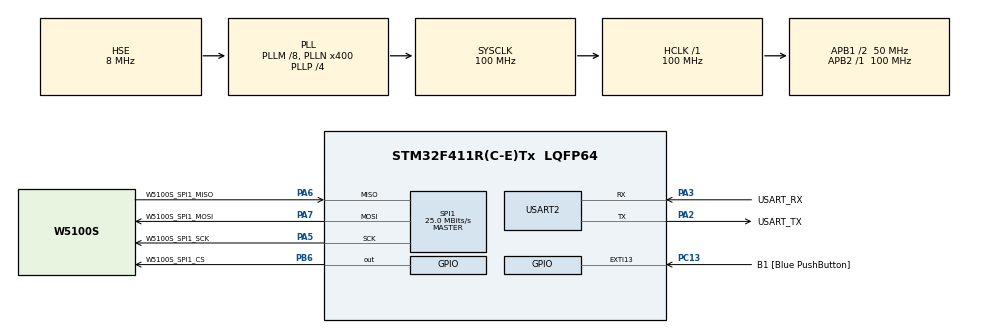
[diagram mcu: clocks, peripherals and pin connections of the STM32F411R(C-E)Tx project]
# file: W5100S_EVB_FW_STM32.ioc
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Mcu.Family=STM32F4
Mcu.Name=STM32F411R(C-E)Tx
Mcu.Package=LQFP64
NVIC.PriorityGroup=NVIC_PRIORITYGROUP_0
NVIC.TIM1_UP_TIM10_IRQn=true\:0\:0\:true\:false\:true\:true\:true
PA13.GPIO_Label=TMS
PA13.Mode=Serial_Wire
PA13.Signal=SYS_JTMS-SWDIO
PA14.GPIO_Label=TCK
PA14.Mode=Serial_Wire
PA14.Signal=SYS_JTCK-SWCLK
PA2.GPIO_Label=USART_TX
PA2.Mode=Asynchronous
PA2.Signal=USART2_TX
PA3.GPIO_Label=USART_RX
PA3.Mode=Asynchronous
PA3.Signal=USART2_RX
PA5.GPIO_Label=W5100S_SPI1_SCK
PA5.GPIO_Speed=GPIO_SPEED_FREQ_VERY_HIGH
PA5.Mode=Full_Duplex_Master
PA5.Signal=SPI1_SCK
PA6.GPIO_Label=W5100S_SPI1_MISO
PA6.Mode=Full_Duplex_Master
PA6.Signal=SPI1_MISO
PA7.GPIO_Label=W5100S_SPI1_MOSI
PA7.Mode=Full_Duplex_Master
PA7.Signal=SPI1_MOSI
PB3.GPIO_Label=SWO
PB3.Signal=SYS_JTDO-SWO
PB6.GPIO_Label=W5100S_SPI1_CS
PB6.GPIO_ModeDefaultOutputPP=GPIO_MODE_OUTPUT_PP
PB6.GPIO_PuPd=GPIO_PULLUP
PB6.GPIO_Speed=GPIO_SPEED_FREQ_HIGH
PB6.PinState=GPIO_PIN_SET
PB6.Signal=GPIO_Output
PC13-ANTI_TAMP.GPIO_Label=B1 [Blue PushButton]
PC13-ANTI_TAMP.GPIO_ModeDefaultEXTI=GPIO_MODE_IT_FALLING
PC13-ANTI_TAMP.Signal=GPXTI13
PC14-OSC32_IN.Mode=LSE-External-Oscillator
PC14-OSC32_IN.Signal=RCC_OSC32_IN
PC15-OSC32_OUT.Mode=LSE-External-Oscillator
PC15-OSC32_OUT.Signal=RCC_OSC32_OUT
PH0\ -\ OSC_IN.Mode=HSE-External-Clock-Source
PH0\ -\ OSC_IN.Signal=RCC_OSC_IN
PH1\ -\ OSC_OUT.Mode=HSE-External-Clock-Source
PH1\ -\ OSC_OUT.Signal=RCC_OSC_OUT
ProjectManager.HeapSize=0x200
ProjectManager.StackSize=0x400
ProjectManager.TargetToolchain=MDK-ARM V5.27
RCC.48MHZClocksFreq_Value=100000000
RCC.AHBFreq_Value=100000000
RCC.APB1CLKDivider=RCC_HCLK_DIV2
RCC.APB1Freq_Value=50000000
RCC.APB1TimFreq_Value=100000000
RCC.APB2Freq_Value=100000000
RCC.APB2TimFreq_Value=100000000
RCC.CortexFreq_Value=100000000
RCC.FLatency-AdvancedSettings=FLASH_LATENCY_3
RCC.HCLKFreq_Value=100000000
RCC.HSE_VALUE=8000000
RCC.HSI_VALUE=16000000
RCC.PLLM=8
RCC.PLLN=400
RCC.PLLP=RCC_PLLP_DIV4
RCC.PLLSourceVirtual=RCC_PLLSOURCE_HSE
RCC.SYSCLKFreq_VALUE=100000000
RCC.SYSCLKSource=RCC_SYSCLKSOURCE_PLLCLK
RCC.VCOOutputFreq_Value=400000000
SPI1.BaudRatePrescaler=SPI_BAUDRATEPRESCALER_4
SPI1.CalculateBaudRate=25.0 MBits/s
SPI1.Direction=SPI_DIRECTION_2LINES
SPI1.Mode=SPI_MODE_MASTER
SPI1.VirtualType=VM_MASTER
TIM1.AutoReloadPreload=TIM_AUTORELOAD_PRELOAD_ENABLE
TIM1.ClockDivision=TIM_CLOCKDIVISION_DIV1
TIM1.Period=999
TIM1.Prescaler=100
USART2.VirtualMode=VM_ASYNC
VP_TIM1_VS_ClockSourceINT.Mode=Internal
board=NUCLEO-F411RE

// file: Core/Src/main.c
/* USER CODE BEGIN Header */
/**
  ******************************************************************************
  * @file           : main.c
  * @brief          : Main program body
  ******************************************************************************
  * @attention
  *
  * <h2><center>&copy; Copyright (c) 2022 STMicroelectronics.
  * All rights reserved.</center></h2>
  *
  * This software component is licensed by ST under BSD 3-Clause license,
  * the "License"; You may not use this file except in compliance with the
  * License. You may obtain a copy of the License at:
  *                        opensource.org/licenses/BSD-3-Clause
  *
  ******************************************************************************
  */
/* USER CODE END Header */
#include "main.h"

/* USER CODE BEGIN Includes */
#include <stdio.h>
#include <stdarg.h>
#include "w5x00_spi.h"
#include "dhcp.h"
#include "dns.h"
#include "timer.h"
#include "wizchip_conf.h"
/* USER CODE END Includes */

/* USER CODE BEGIN PD */

/* Buffer */
#define ETHERNET_BUF_MAX_SIZE (1024 * 2)

/* Socket */
#define SOCKET_DHCP 0
#define SOCKET_DNS 1

/* Retry count */
#define DHCP_RETRY_COUNT 5
#define DNS_RETRY_COUNT 5

/* USER CODE END PD */

SPI_HandleTypeDef hspi1;

TIM_HandleTypeDef htim1;

UART_HandleTypeDef huart2;

/* USER CODE BEGIN PV */

/* Network */
static wiz_NetInfo g_net_info =
    {
        .mac = {0x00, 0x08, 0xDC, 0x5F, 0x84, 0xE6}, // MAC address
        .ip = {192, 168, 11, 2},                     // IP address
        .sn = {255, 255, 255, 0},                    // Subnet Mask
        .gw = {192, 168, 11, 1},                     // Gateway
        .dns = {8, 8, 8, 8},                         // DNS server
        .dhcp = NETINFO_DHCP                         // DHCP enable/disable
};
static uint8_t g_ethernet_buf[ETHERNET_BUF_MAX_SIZE] = {
    0,
}; // common buffer

/* DHCP */
static uint8_t g_dhcp_get_ip_flag = 0;

/* DNS */
static uint8_t g_dns_target_domain[] = "www.wiznet.io";
static uint8_t g_dns_target_ip[4] = {
    0,
};
static uint8_t g_dns_get_ip_flag = 0;

/* Timer */
static volatile uint16_t g_msec_cnt = 0;

/* USER CODE END PV */

void SystemClock_Config(void);
static void MX_GPIO_Init(void);
static void MX_SPI1_Init(void);
static void MX_USART2_UART_Init(void);
static void MX_TIM1_Init(void);
/* USER CODE BEGIN PFP */

/* DHCP */
static void wizchip_dhcp_init(void);
static void wizchip_dhcp_assign(void);
static void wizchip_dhcp_conflict(void);

/* Timer */
static void repeating_timer_callback(void);

/* USER CODE END PFP */

int main(void)
{
  /* USER CODE BEGIN 1 */
	uint8_t retval = 0;
	uint8_t dhcp_retry = 0;
	uint8_t dns_retry = 0;
  /* USER CODE END 1 */

  /* MCU Configuration--------------------------------------------------------*/

  /* Reset of all peripherals, Initializes the Flash interface and the Systick. */
  HAL_Init();

  /* Configure the system clock */
  SystemClock_Config();

  /* Initialize all configured peripherals */
  MX_GPIO_Init();
  MX_SPI1_Init();
  MX_USART2_UART_Init();
  MX_TIM1_Init();
  /* USER CODE BEGIN 2 */
  printf("Hello World\r\n");

  wizchip_1ms_timer_initialize(repeating_timer_callback);

	wizchip_spi_initialize();
	wizchip_cris_initialize();
	wizchip_reset();
	wizchip_initialize();
	wizchip_check();

	if (g_net_info.dhcp == NETINFO_DHCP) // DHCP
	{
			wizchip_dhcp_init();
	}
	else // static
	{
			network_initialize(g_net_info);

			/* Get network information */
			print_network_information(g_net_info);
	}

	DNS_init(SOCKET_DNS, g_ethernet_buf);
	g_dns_get_ip_flag = 0;
  /* USER CODE END 2 */

  /* Infinite loop */
  while (1)
  {

    /* USER CODE BEGIN 3 */

		/* Assigned IP through DHCP */
		if (g_net_info.dhcp == NETINFO_DHCP)
		{
				retval = DHCP_run();

				if (retval == DHCP_IP_LEASED)
				{
						if (g_dhcp_get_ip_flag == 0)
						{
								printf(" DHCP success\n");

								g_dhcp_get_ip_flag = 1;
						}
				}
				else if (retval == DHCP_FAILED)
				{
						g_dhcp_get_ip_flag = 0;
						dhcp_retry++;

						if (dhcp_retry <= DHCP_RETRY_COUNT)
						{
								printf(" DHCP timeout occurred and retry %d\n", dhcp_retry);
						}
				}

				if (dhcp_retry > DHCP_RETRY_COUNT)
				{
						printf(" DHCP failed\n");

						DHCP_stop();

						while (1)
								;
				}

				wizchip_delay_ms(1000); // wait for 1 second
				printf("g_dns_get_ip_flag = %d, retval = %d\r\n", g_dns_get_ip_flag, retval);
		}

		/* Get IP through DNS */
		if ((g_dns_get_ip_flag == 0) && (retval == DHCP_IP_LEASED))
		{
				while (1)
				{
						if (DNS_run(g_net_info.dns, g_dns_target_domain, g_dns_target_ip) > 0)
						{
								printf(" DNS success\n");
								printf(" Target domain : %s\n", g_dns_target_domain);
								printf(" IP of target domain : %d.%d.%d.%d\n", g_dns_target_ip[0], g_dns_target_ip[1], g_dns_target_ip[2], g_dns_target_ip[3]);

								g_dns_get_ip_flag = 1;

								break;
						}
						else
						{
								dns_retry++;

								if (dns_retry <= DNS_RETRY_COUNT)
								{
										printf(" DNS timeout occurred and retry %d\n", dns_retry);
								}
						}

						if (dns_retry > DNS_RETRY_COUNT)
						{
								printf(" DNS failed\n");

								while (1)
										;
						}

						wizchip_delay_ms(1000); // wait for 1 second
				}
		}
  }
  /* USER CODE END 3 */
}

void SystemClock_Config(void)
{
  RCC_OscInitTypeDef RCC_OscInitStruct = {0};
  RCC_ClkInitTypeDef RCC_ClkInitStruct = {0};

  /** Configure the main internal regulator output voltage
  */
  __HAL_RCC_PWR_CLK_ENABLE();
  __HAL_PWR_VOLTAGESCALING_CONFIG(PWR_REGULATOR_VOLTAGE_SCALE1);
  /** Initializes the RCC Oscillators according to the specified parameters
  * in the RCC_OscInitTypeDef structure.
  */
  RCC_OscInitStruct.OscillatorType = RCC_OSCILLATORTYPE_HSE;
  RCC_OscInitStruct.HSEState = RCC_HSE_BYPASS;
  RCC_OscInitStruct.PLL.PLLState = RCC_PLL_ON;
  RCC_OscInitStruct.PLL.PLLSource = RCC_PLLSOURCE_HSE;
  RCC_OscInitStruct.PLL.PLLM = 8;
  RCC_OscInitStruct.PLL.PLLN = 400;
  RCC_OscInitStruct.PLL.PLLP = RCC_PLLP_DIV4;
  RCC_OscInitStruct.PLL.PLLQ = 4;
  if (HAL_RCC_OscConfig(&RCC_OscInitStruct) != HAL_OK)
  {
    Error_Handler();
  }
  /** Initializes the CPU, AHB and APB buses clocks
  */
  RCC_ClkInitStruct.ClockType = RCC_CLOCKTYPE_HCLK|RCC_CLOCKTYPE_SYSCLK
                              |RCC_CLOCKTYPE_PCLK1|RCC_CLOCKTYPE_PCLK2;
  RCC_ClkInitStruct.SYSCLKSource = RCC_SYSCLKSOURCE_PLLCLK;
  RCC_ClkInitStruct.AHBCLKDivider = RCC_SYSCLK_DIV1;
  RCC_ClkInitStruct.APB1CLKDivider = RCC_HCLK_DIV2;
  RCC_ClkInitStruct.APB2CLKDivider = RCC_HCLK_DIV1;

  if (HAL_RCC_ClockConfig(&RCC_ClkInitStruct, FLASH_LATENCY_3) != HAL_OK)
  {
    Error_Handler();
  }
}

static void MX_SPI1_Init(void)
{

  /* SPI1 parameter configuration*/
  hspi1.Instance = SPI1;
  hspi1.Init.Mode = SPI_MODE_MASTER;
  hspi1.Init.Direction = SPI_DIRECTION_2LINES;
  hspi1.Init.DataSize = SPI_DATASIZE_8BIT;
  hspi1.Init.CLKPolarity = SPI_POLARITY_LOW;
  hspi1.Init.CLKPhase = SPI_PHASE_1EDGE;
  hspi1.Init.NSS = SPI_NSS_SOFT;
  hspi1.Init.BaudRatePrescaler = SPI_BAUDRATEPRESCALER_4;
  hspi1.Init.FirstBit = SPI_FIRSTBIT_MSB;
  hspi1.Init.TIMode = SPI_TIMODE_DISABLE;
  hspi1.Init.CRCCalculation = SPI_CRCCALCULATION_DISABLE;
  hspi1.Init.CRCPolynomial = 10;
  if (HAL_SPI_Init(&hspi1) != HAL_OK)
  {
    Error_Handler();
  }

}

static void MX_TIM1_Init(void)
{

  TIM_ClockConfigTypeDef sClockSourceConfig = {0};
  TIM_MasterConfigTypeDef sMasterConfig = {0};

  htim1.Instance = TIM1;
  htim1.Init.Prescaler = 100;
  htim1.Init.CounterMode = TIM_COUNTERMODE_UP;
  htim1.Init.Period = 999;
  htim1.Init.ClockDivision = TIM_CLOCKDIVISION_DIV1;
  htim1.Init.RepetitionCounter = 0;
  htim1.Init.AutoReloadPreload = TIM_AUTORELOAD_PRELOAD_ENABLE;
  if (HAL_TIM_Base_Init(&htim1) != HAL_OK)
  {
    Error_Handler();
  }
  sClockSourceConfig.ClockSource = TIM_CLOCKSOURCE_INTERNAL;
  if (HAL_TIM_ConfigClockSource(&htim1, &sClockSourceConfig) != HAL_OK)
  {
    Error_Handler();
  }
  sMasterConfig.MasterOutputTrigger = TIM_TRGO_RESET;
  sMasterConfig.MasterSlaveMode = TIM_MASTERSLAVEMODE_DISABLE;
  if (HAL_TIMEx_MasterConfigSynchronization(&htim1, &sMasterConfig) != HAL_OK)
  {
    Error_Handler();
  }

}

static void MX_USART2_UART_Init(void)
{

  huart2.Instance = USART2;
  huart2.Init.BaudRate = 115200;
  huart2.Init.WordLength = UART_WORDLENGTH_8B;
  huart2.Init.StopBits = UART_STOPBITS_1;
  huart2.Init.Parity = UART_PARITY_NONE;
  huart2.Init.Mode = UART_MODE_TX_RX;
  huart2.Init.HwFlowCtl = UART_HWCONTROL_NONE;
  huart2.Init.OverSampling = UART_OVERSAMPLING_16;
  if (HAL_UART_Init(&huart2) != HAL_OK)
  {
    Error_Handler();
  }

}

static void MX_GPIO_Init(void)
{
  GPIO_InitTypeDef GPIO_InitStruct = {0};

  /* GPIO Ports Clock Enable */
  __HAL_RCC_GPIOC_CLK_ENABLE();
  __HAL_RCC_GPIOH_CLK_ENABLE();
  __HAL_RCC_GPIOA_CLK_ENABLE();
  __HAL_RCC_GPIOB_CLK_ENABLE();

  /*Configure GPIO pin Output Level */
  HAL_GPIO_WritePin(W5100S_SPI1_CS_GPIO_Port, W5100S_SPI1_CS_Pin, GPIO_PIN_SET);

  /*Configure GPIO pin : B1_Pin */
  GPIO_InitStruct.Pin = B1_Pin;
  GPIO_InitStruct.Mode = GPIO_MODE_IT_FALLING;
  GPIO_InitStruct.Pull = GPIO_NOPULL;
  HAL_GPIO_Init(B1_GPIO_Port, &GPIO_InitStruct);

  /*Configure GPIO pin : W5100S_SPI1_CS_Pin */
  GPIO_InitStruct.Pin = W5100S_SPI1_CS_Pin;
  GPIO_InitStruct.Mode = GPIO_MODE_OUTPUT_PP;
  GPIO_InitStruct.Pull = GPIO_PULLUP;
  GPIO_InitStruct.Speed = GPIO_SPEED_FREQ_HIGH;
  HAL_GPIO_Init(W5100S_SPI1_CS_GPIO_Port, &GPIO_InitStruct);

}

/* USER CODE BEGIN 4 */
#define PUTCHAR_PROTOTYPE int fputc(int ch, FILE *f)

PUTCHAR_PROTOTYPE
{
    /* Implement your write code here, this is used by puts and printf for example */

    /* Place your implementation of fputc here */
    /* e.g. write a character to the USART */

    uint8_t c[1];
    c[0] = ch & 0x00FF;
    HAL_UART_Transmit(&huart2, &c[0], 1, 10);
    return ch;
}

/* DHCP */
static void wizchip_dhcp_init(void)
{
    printf(" DHCP client running\n");

    DHCP_init(SOCKET_DHCP, g_ethernet_buf);

    reg_dhcp_cbfunc(wizchip_dhcp_assign, wizchip_dhcp_assign, wizchip_dhcp_conflict);
}

static void wizchip_dhcp_assign(void)
{
    getIPfromDHCP(g_net_info.ip);
    getGWfromDHCP(g_net_info.gw);
    getSNfromDHCP(g_net_info.sn);
    getDNSfromDHCP(g_net_info.dns);

    g_net_info.dhcp = NETINFO_DHCP;

    /* Network initialize */
    network_initialize(g_net_info); // apply from DHCP

    print_network_information(g_net_info);
    printf(" DHCP leased time : %ld seconds\n", getDHCPLeasetime());
}

static void wizchip_dhcp_conflict(void)
{
    printf(" Conflict IP from DHCP\n");

    // halt or reset or any...
    while (1)
        ; // this example is halt.
}

/* Timer */
static void repeating_timer_callback(void)
{
    g_msec_cnt++;

    if (g_msec_cnt >= 1000 - 1)
    {
        g_msec_cnt = 0;

        DHCP_time_handler();
        DNS_time_handler();
    }
}

/* USER CODE END 4 */

void Error_Handler(void)
{
  __disable_irq();
  while (1)
  {
  }
}

/************************ (C) COPYRIGHT STMicroelectronics *****END OF FILE****/
